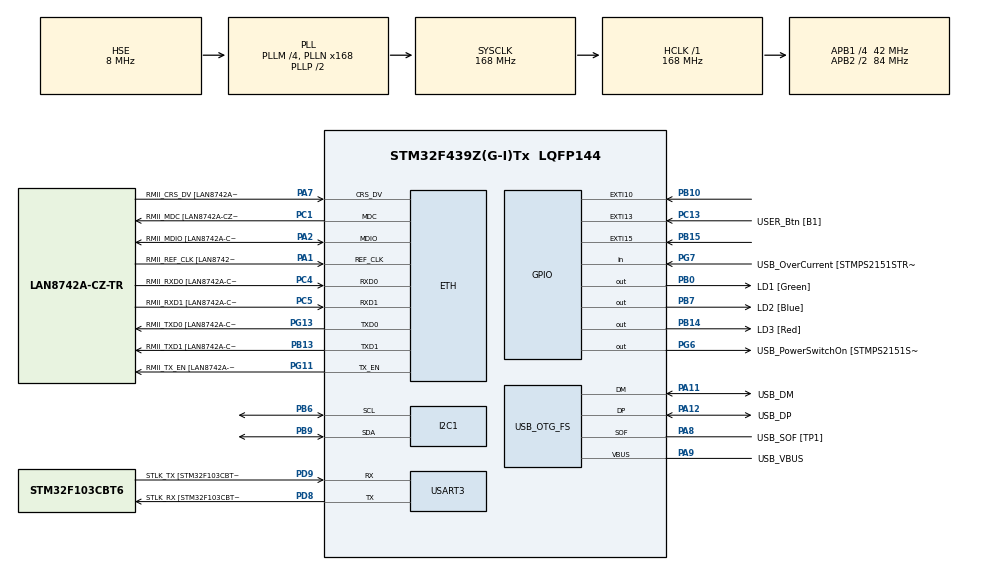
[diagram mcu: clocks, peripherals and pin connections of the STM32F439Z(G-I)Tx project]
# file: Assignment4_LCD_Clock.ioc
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ETH.MediaInterface=HAL_ETH_RMII_MODE
ETH.PHY_Name=LAN8742A_PHY_ADDRESS
ETH.PHY_Value=0
ETH.PhyAddress=0
Mcu.Family=STM32F4
Mcu.Name=STM32F439Z(G-I)Tx
Mcu.Package=LQFP144
NVIC.EXTI15_10_IRQn=true\:0\:0\:false\:false\:true\:true\:true\:true
NVIC.PriorityGroup=NVIC_PRIORITYGROUP_4
NVIC.TIM2_IRQn=true\:0\:0\:false\:false\:true\:true\:true\:true
PA1.GPIO_Label=RMII_REF_CLK [LAN8742A-CZ-TR_REFCLK0]
PA1.Mode=RMII
PA1.Signal=ETH_REF_CLK
PA10.GPIO_Label=USB_ID
PA10.Signal=USB_OTG_FS_ID
PA11.GPIO_Label=USB_DM
PA11.Mode=Device_Only
PA11.Signal=USB_OTG_FS_DM
PA12.GPIO_Label=USB_DP
PA12.Mode=Device_Only
PA12.Signal=USB_OTG_FS_DP
PA13.GPIO_Label=TMS
PA13.Mode=Serial_Wire
PA13.Signal=SYS_JTMS-SWDIO
PA14.GPIO_Label=TCK
PA14.Mode=Serial_Wire
PA14.Signal=SYS_JTCK-SWCLK
PA2.GPIO_Label=RMII_MDIO [LAN8742A-CZ-TR_MDIO]
PA2.Mode=RMII
PA2.Signal=ETH_MDIO
PA7.GPIO_Label=RMII_CRS_DV [LAN8742A-CZ-TR_CRS_DV]
PA7.Mode=RMII
PA7.Signal=ETH_CRS_DV
PA8.GPIO_Label=USB_SOF [TP1]
PA8.Mode=Activate_SOF_FS
PA8.Signal=USB_OTG_FS_SOF
PA9.GPIO_Label=USB_VBUS
PA9.Mode=Activate_VBUS
PA9.Signal=USB_OTG_FS_VBUS
PB0.GPIO_Label=LD1 [Green]
PB0.Signal=GPIO_Output
PB10.Signal=GPXTI10
PB13.GPIO_Label=RMII_TXD1 [LAN8742A-CZ-TR_TXD1]
PB13.Mode=RMII
PB13.Signal=ETH_TXD1
PB14.GPIO_Label=LD3 [Red]
PB14.Signal=GPIO_Output
PB15.Signal=GPXTI15
PB6.GPIO_Mode=GPIO_MODE_AF_OD
PB6.GPIO_Pu=GPIO_NOPULL
PB6.GPIO_Speed=GPIO_SPEED_FREQ_VERY_HIGH
PB6.Mode=I2C
PB6.Signal=I2C1_SCL
PB7.GPIO_Label=LD2 [Blue]
PB7.Signal=GPIO_Output
PB9.GPIO_Mode=GPIO_MODE_AF_OD
PB9.GPIO_Pu=GPIO_NOPULL
PB9.GPIO_Speed=GPIO_SPEED_FREQ_VERY_HIGH
PB9.Mode=I2C
PB9.Signal=I2C1_SDA
PC1.GPIO_Label=RMII_MDC [LAN8742A-CZ-TR_MDC]
PC1.Mode=RMII
PC1.Signal=ETH_MDC
PC13.GPIO_Label=USER_Btn [B1]
PC13.Signal=GPXTI13
PC14/OSC32_IN.Mode=LSE-External-Oscillator
PC14/OSC32_IN.Signal=RCC_OSC32_IN
PC15/OSC32_OUT.Mode=LSE-External-Oscillator
PC15/OSC32_OUT.Signal=RCC_OSC32_OUT
PC4.GPIO_Label=RMII_RXD0 [LAN8742A-CZ-TR_RXD0]
PC4.Mode=RMII
PC4.Signal=ETH_RXD0
PC5.GPIO_Label=RMII_RXD1 [LAN8742A-CZ-TR_RXD1]
PC5.Mode=RMII
PC5.Signal=ETH_RXD1
PD8.GPIO_Label=STLK_RX [STM32F103CBT6_PA3]
PD8.Mode=Asynchronous
PD8.Signal=USART3_TX
PD9.GPIO_Label=STLK_TX [STM32F103CBT6_PA2]
PD9.Mode=Asynchronous
PD9.Signal=USART3_RX
PG11.GPIO_Label=RMII_TX_EN [LAN8742A-CZ-TR_TXEN]
PG11.Mode=RMII
PG11.Signal=ETH_TX_EN
PG13.GPIO_Label=RMII_TXD0 [LAN8742A-CZ-TR_TXD0]
PG13.Mode=RMII
PG13.Signal=ETH_TXD0
PG6.GPIO_Label=USB_PowerSwitchOn [STMPS2151STR_EN]
PG6.Signal=GPIO_Output
PG7.GPIO_Label=USB_OverCurrent [STMPS2151STR_FAULT]
PG7.Signal=GPIO_Input
PH0/OSC_IN.GPIO_Label=MCO [STM32F103CBT6_PA8]
PH0/OSC_IN.Mode=HSE-External-Oscillator
PH0/OSC_IN.Signal=RCC_OSC_IN
PH1/OSC_OUT.Mode=HSE-External-Oscillator
PH1/OSC_OUT.Signal=RCC_OSC_OUT
ProjectManager.HeapSize=0x200
ProjectManager.StackSize=0x400
ProjectManager.TargetToolchain=STM32CubeIDE
RCC.48MHZClocksFreq_Value=48000000
RCC.AHBFreq_Value=168000000
RCC.APB1CLKDivider=RCC_HCLK_DIV4
RCC.APB1Freq_Value=42000000
RCC.APB1TimFreq_Value=84000000
RCC.APB2CLKDivider=RCC_HCLK_DIV2
RCC.APB2Freq_Value=84000000
RCC.APB2TimCLKDivider=2
RCC.APB2TimFreq_Value=168000000
RCC.CortexFreq_Value=168000000
RCC.HCLKFreq_Value=168000000
RCC.HSE_VALUE=8000000
RCC.HSI_VALUE=16000000
RCC.PLLM=4
RCC.PLLMUL=RCC_PLL_MUL9
RCC.PLLN=168
RCC.PLLQ=7
RCC.PRESCALERUSB=RCC_USBCLKSOURCE_PLL_DIV1_5
RCC.SYSCLKFreq_VALUE=168000000
RCC.SYSCLKSource=RCC_SYSCLKSOURCE_PLLCLK
RCC.SYSCLKSourceVirtual=RCC_SYSCLKSOURCE_PLLCLK
RCC.USBFreq_Value=48000000
RCC.VCOOutputFreq_Value=336000000
TIM2.Period=10000-1
TIM2.Prescaler=8400-1
USART3.VirtualMode=VM_ASYNC
USB_OTG_FS.VirtualMode=Device_Only
VP_TIM2_VS_ClockSourceINT.Mode=Internal
board=NUCLEO-F439ZI

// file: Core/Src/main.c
/* USER CODE BEGIN Header */
/**
  ******************************************************************************
  * @file           : main.c
  * @brief          : Main program body
  ******************************************************************************
  * @attention
  *
  * Copyright (c) 2025 STMicroelectronics.
  * All rights reserved.
  *
  * This software is licensed under terms that can be found in the LICENSE file
  * in the root directory of this software component.
  * If no LICENSE file comes with this software, it is provided AS-IS.
  *
  ******************************************************************************
  */
/* USER CODE END Header */
#include "main.h"
#include "string.h"

/* USER CODE BEGIN Includes */
#include "i2c-lcd.h"
/* USER CODE END Includes */

ETH_TxPacketConfig TxConfig;
ETH_DMADescTypeDef  DMARxDscrTab[ETH_RX_DESC_CNT]; /* Ethernet Rx DMA Descriptors */
ETH_DMADescTypeDef  DMATxDscrTab[ETH_TX_DESC_CNT]; /* Ethernet Tx DMA Descriptors */

ETH_HandleTypeDef heth;

I2C_HandleTypeDef hi2c1;

TIM_HandleTypeDef htim2;

UART_HandleTypeDef huart3;

PCD_HandleTypeDef hpcd_USB_OTG_FS;

/* USER CODE BEGIN PV */
int mode = 0; //0 - time_set mode; 1 - normal mode; 2 - alarm set mode
int cursor_loc = 0; //0 - set seconds; 1 - minutes; 2 - hrs
int tim_sec = 0;
int alarm_sec = 0;
int tim_min = 0;
int alarm_min = 0;
int tim_hrs = 0;
int alarm_hrs = 0;
int alarm_on_off = 0;
int debounce_time = 200;
int current_time = 0;
int previous_time = 0;
int alarm_detected = 0;
char time_array[9];
/* USER CODE END PV */

void SystemClock_Config(void);
static void MX_GPIO_Init(void);
static void MX_ETH_Init(void);
static void MX_USART3_UART_Init(void);
static void MX_USB_OTG_FS_PCD_Init(void);
static void MX_I2C1_Init(void);
static void MX_TIM2_Init(void);

/* USER CODE BEGIN 0 */

void display_clock(void){

	//a function to indicate that time==alarm time when alarm_on_off == 1

	if (mode!=2){
	lcd_put_cur(0, 0);
	sprintf(time_array, "%02d:%02d:%02d" , tim_hrs , tim_min, tim_sec);
	lcd_send_string(time_array);
	}
	if (mode==0){
		lcd_put_cur(1, 0);
		lcd_send_string("SET TIME  ");
	}
	if (mode==1 && alarm_detected==0){
		lcd_put_cur(1, 0);
		lcd_send_string("CLOCK    ");
		HAL_GPIO_WritePin(GPIOB, LD1_Pin, 0);
		HAL_GPIO_WritePin(GPIOB, LD2_Pin, 0);
		HAL_GPIO_WritePin(GPIOB, LD3_Pin, 0);
	}
	if (mode==2){
		lcd_put_cur(0, 0);
		sprintf(time_array, "%02d:%02d:%02d" , alarm_hrs , alarm_min, alarm_sec);
		lcd_send_string(time_array);
		lcd_put_cur(1, 0);
		lcd_send_string("SET ALARM");

	}
	if (alarm_on_off){
		lcd_put_cur(1, 13);
		lcd_send_string("ON ");
	}
	if (!alarm_on_off){
		lcd_put_cur(1, 13);
		lcd_send_string("OFF");
	}
	if (alarm_detected>0){
		lcd_put_cur(1, 0);
		lcd_send_string("ALARM!     ");
	}

}

/* USER CODE END 0 */

int main(void)
{

  /* MCU Configuration--------------------------------------------------------*/

  /* Reset of all peripherals, Initializes the Flash interface and the Systick. */
  HAL_Init();

  /* Configure the system clock */
  SystemClock_Config();

  /* Initialize all configured peripherals */
  MX_GPIO_Init();
  MX_ETH_Init();
  MX_USART3_UART_Init();
  MX_USB_OTG_FS_PCD_Init();
  MX_I2C1_Init();
  MX_TIM2_Init();
  /* USER CODE BEGIN 2 */
  HAL_TIM_Base_Start_IT(&htim2);
  lcd_init();
  lcd_clear();
  //lcd_send_string("HELLO");
  /* USER CODE END 2 */

  /* Infinite loop */
  while (1)
  {
	  display_clock();
  }
}

void SystemClock_Config(void)
{
  RCC_OscInitTypeDef RCC_OscInitStruct = {0};
  RCC_ClkInitTypeDef RCC_ClkInitStruct = {0};

  /** Configure the main internal regulator output voltage
  */
  __HAL_RCC_PWR_CLK_ENABLE();
  __HAL_PWR_VOLTAGESCALING_CONFIG(PWR_REGULATOR_VOLTAGE_SCALE1);

  /** Initializes the RCC Oscillators according to the specified parameters
  * in the RCC_OscInitTypeDef structure.
  */
  RCC_OscInitStruct.OscillatorType = RCC_OSCILLATORTYPE_HSE;
  RCC_OscInitStruct.HSEState = RCC_HSE_ON;
  RCC_OscInitStruct.PLL.PLLState = RCC_PLL_ON;
  RCC_OscInitStruct.PLL.PLLSource = RCC_PLLSOURCE_HSE;
  RCC_OscInitStruct.PLL.PLLM = 4;
  RCC_OscInitStruct.PLL.PLLN = 168;
  RCC_OscInitStruct.PLL.PLLP = RCC_PLLP_DIV2;
  RCC_OscInitStruct.PLL.PLLQ = 7;
  if (HAL_RCC_OscConfig(&RCC_OscInitStruct) != HAL_OK)
  {
    Error_Handler();
  }

  /** Initializes the CPU, AHB and APB buses clocks
  */
  RCC_ClkInitStruct.ClockType = RCC_CLOCKTYPE_HCLK|RCC_CLOCKTYPE_SYSCLK
                              |RCC_CLOCKTYPE_PCLK1|RCC_CLOCKTYPE_PCLK2;
  RCC_ClkInitStruct.SYSCLKSource = RCC_SYSCLKSOURCE_PLLCLK;
  RCC_ClkInitStruct.AHBCLKDivider = RCC_SYSCLK_DIV1;
  RCC_ClkInitStruct.APB1CLKDivider = RCC_HCLK_DIV4;
  RCC_ClkInitStruct.APB2CLKDivider = RCC_HCLK_DIV2;

  if (HAL_RCC_ClockConfig(&RCC_ClkInitStruct, FLASH_LATENCY_5) != HAL_OK)
  {
    Error_Handler();
  }
}

static void MX_ETH_Init(void)
{

   static uint8_t MACAddr[6];

  heth.Instance = ETH;
  MACAddr[0] = 0x00;
  MACAddr[1] = 0x80;
  MACAddr[2] = 0xE1;
  MACAddr[3] = 0x00;
  MACAddr[4] = 0x00;
  MACAddr[5] = 0x00;
  heth.Init.MACAddr = &MACAddr[0];
  heth.Init.MediaInterface = HAL_ETH_RMII_MODE;
  heth.Init.TxDesc = DMATxDscrTab;
  heth.Init.RxDesc = DMARxDscrTab;
  heth.Init.RxBuffLen = 1524;

  if (HAL_ETH_Init(&heth) != HAL_OK)
  {
    Error_Handler();
  }

  memset(&TxConfig, 0 , sizeof(ETH_TxPacketConfig));
  TxConfig.Attributes = ETH_TX_PACKETS_FEATURES_CSUM | ETH_TX_PACKETS_FEATURES_CRCPAD;
  TxConfig.ChecksumCtrl = ETH_CHECKSUM_IPHDR_PAYLOAD_INSERT_PHDR_CALC;
  TxConfig.CRCPadCtrl = ETH_CRC_PAD_INSERT;

}

static void MX_I2C1_Init(void)
{

  hi2c1.Instance = I2C1;
  hi2c1.Init.ClockSpeed = 100000;
  hi2c1.Init.DutyCycle = I2C_DUTYCYCLE_2;
  hi2c1.Init.OwnAddress1 = 0;
  hi2c1.Init.AddressingMode = I2C_ADDRESSINGMODE_7BIT;
  hi2c1.Init.DualAddressMode = I2C_DUALADDRESS_DISABLE;
  hi2c1.Init.OwnAddress2 = 0;
  hi2c1.Init.GeneralCallMode = I2C_GENERALCALL_DISABLE;
  hi2c1.Init.NoStretchMode = I2C_NOSTRETCH_DISABLE;
  if (HAL_I2C_Init(&hi2c1) != HAL_OK)
  {
    Error_Handler();
  }

  /** Configure Analogue filter
  */
  if (HAL_I2CEx_ConfigAnalogFilter(&hi2c1, I2C_ANALOGFILTER_ENABLE) != HAL_OK)
  {
    Error_Handler();
  }

  /** Configure Digital filter
  */
  if (HAL_I2CEx_ConfigDigitalFilter(&hi2c1, 0) != HAL_OK)
  {
    Error_Handler();
  }

}

static void MX_TIM2_Init(void)
{

  TIM_ClockConfigTypeDef sClockSourceConfig = {0};
  TIM_MasterConfigTypeDef sMasterConfig = {0};

  htim2.Instance = TIM2;
  htim2.Init.Prescaler = 8400-1;
  htim2.Init.CounterMode = TIM_COUNTERMODE_UP;
  htim2.Init.Period = 10000-1;
  htim2.Init.ClockDivision = TIM_CLOCKDIVISION_DIV1;
  htim2.Init.AutoReloadPreload = TIM_AUTORELOAD_PRELOAD_DISABLE;
  if (HAL_TIM_Base_Init(&htim2) != HAL_OK)
  {
    Error_Handler();
  }
  sClockSourceConfig.ClockSource = TIM_CLOCKSOURCE_INTERNAL;
  if (HAL_TIM_ConfigClockSource(&htim2, &sClockSourceConfig) != HAL_OK)
  {
    Error_Handler();
  }
  sMasterConfig.MasterOutputTrigger = TIM_TRGO_RESET;
  sMasterConfig.MasterSlaveMode = TIM_MASTERSLAVEMODE_DISABLE;
  if (HAL_TIMEx_MasterConfigSynchronization(&htim2, &sMasterConfig) != HAL_OK)
  {
    Error_Handler();
  }

}

static void MX_USART3_UART_Init(void)
{

  huart3.Instance = USART3;
  huart3.Init.BaudRate = 115200;
  huart3.Init.WordLength = UART_WORDLENGTH_8B;
  huart3.Init.StopBits = UART_STOPBITS_1;
  huart3.Init.Parity = UART_PARITY_NONE;
  huart3.Init.Mode = UART_MODE_TX_RX;
  huart3.Init.HwFlowCtl = UART_HWCONTROL_NONE;
  huart3.Init.OverSampling = UART_OVERSAMPLING_16;
  if (HAL_UART_Init(&huart3) != HAL_OK)
  {
    Error_Handler();
  }

}

static void MX_USB_OTG_FS_PCD_Init(void)
{

  hpcd_USB_OTG_FS.Instance = USB_OTG_FS;
  hpcd_USB_OTG_FS.Init.dev_endpoints = 4;
  hpcd_USB_OTG_FS.Init.speed = PCD_SPEED_FULL;
  hpcd_USB_OTG_FS.Init.dma_enable = DISABLE;
  hpcd_USB_OTG_FS.Init.phy_itface = PCD_PHY_EMBEDDED;
  hpcd_USB_OTG_FS.Init.Sof_enable = ENABLE;
  hpcd_USB_OTG_FS.Init.low_power_enable = DISABLE;
  hpcd_USB_OTG_FS.Init.lpm_enable = DISABLE;
  hpcd_USB_OTG_FS.Init.vbus_sensing_enable = ENABLE;
  hpcd_USB_OTG_FS.Init.use_dedicated_ep1 = DISABLE;
  if (HAL_PCD_Init(&hpcd_USB_OTG_FS) != HAL_OK)
  {
    Error_Handler();
  }

}

static void MX_GPIO_Init(void)
{
  GPIO_InitTypeDef GPIO_InitStruct = {0};

  /* GPIO Ports Clock Enable */
  __HAL_RCC_GPIOC_CLK_ENABLE();
  __HAL_RCC_GPIOH_CLK_ENABLE();
  __HAL_RCC_GPIOA_CLK_ENABLE();
  __HAL_RCC_GPIOB_CLK_ENABLE();
  __HAL_RCC_GPIOD_CLK_ENABLE();
  __HAL_RCC_GPIOG_CLK_ENABLE();

  /*Configure GPIO pin Output Level */
  HAL_GPIO_WritePin(GPIOB, LD1_Pin|LD3_Pin|LD2_Pin, GPIO_PIN_RESET);

  /*Configure GPIO pin Output Level */
  HAL_GPIO_WritePin(USB_PowerSwitchOn_GPIO_Port, USB_PowerSwitchOn_Pin, GPIO_PIN_RESET);

  /*Configure GPIO pin : USER_Btn_Pin */
  GPIO_InitStruct.Pin = USER_Btn_Pin;
  GPIO_InitStruct.Mode = GPIO_MODE_IT_RISING;
  GPIO_InitStruct.Pull = GPIO_NOPULL;
  HAL_GPIO_Init(USER_Btn_GPIO_Port, &GPIO_InitStruct);

  /*Configure GPIO pins : LD1_Pin LD3_Pin LD2_Pin */
  GPIO_InitStruct.Pin = LD1_Pin|LD3_Pin|LD2_Pin;
  GPIO_InitStruct.Mode = GPIO_MODE_OUTPUT_PP;
  GPIO_InitStruct.Pull = GPIO_NOPULL;
  GPIO_InitStruct.Speed = GPIO_SPEED_FREQ_LOW;
  HAL_GPIO_Init(GPIOB, &GPIO_InitStruct);

  /*Configure GPIO pins : PB10 PB15 */
  GPIO_InitStruct.Pin = GPIO_PIN_10|GPIO_PIN_15;
  GPIO_InitStruct.Mode = GPIO_MODE_IT_RISING;
  GPIO_InitStruct.Pull = GPIO_NOPULL;
  HAL_GPIO_Init(GPIOB, &GPIO_InitStruct);

  /*Configure GPIO pin : USB_PowerSwitchOn_Pin */
  GPIO_InitStruct.Pin = USB_PowerSwitchOn_Pin;
  GPIO_InitStruct.Mode = GPIO_MODE_OUTPUT_PP;
  GPIO_InitStruct.Pull = GPIO_NOPULL;
  GPIO_InitStruct.Speed = GPIO_SPEED_FREQ_LOW;
  HAL_GPIO_Init(USB_PowerSwitchOn_GPIO_Port, &GPIO_InitStruct);

  /*Configure GPIO pin : USB_OverCurrent_Pin */
  GPIO_InitStruct.Pin = USB_OverCurrent_Pin;
  GPIO_InitStruct.Mode = GPIO_MODE_INPUT;
  GPIO_InitStruct.Pull = GPIO_NOPULL;
  HAL_GPIO_Init(USB_OverCurrent_GPIO_Port, &GPIO_InitStruct);

  /* EXTI interrupt init*/
  HAL_NVIC_SetPriority(EXTI15_10_IRQn, 0, 0);
  HAL_NVIC_EnableIRQ(EXTI15_10_IRQn);

}

/* USER CODE BEGIN 4 */
void HAL_TIM_PeriodElapsedCallback(TIM_HandleTypeDef *htim)
{
  /* Prevent unused argument(s) compilation warning */
  UNUSED(htim);

  /* NOTE : This function should not be modified, when the callback is needed,
            the HAL_TIM_PeriodElapsedCallback could be implemented in the user file
   */
  if(alarm_on_off){
	 if( (tim_sec == alarm_sec && tim_min == alarm_min && tim_hrs == alarm_hrs) | (alarm_detected>0)){
		  alarm_detected = (alarm_detected +1)%30;
			HAL_GPIO_TogglePin(GPIOB, LD1_Pin);
			HAL_GPIO_TogglePin(GPIOB, LD2_Pin);
			HAL_GPIO_TogglePin(GPIOB, LD3_Pin);

	  }
  }

  if (htim->Instance==TIM2){
	  if(1){
		  tim_sec++;
		  if(tim_sec == 60){
			  tim_min++;
			  tim_sec = 0;
		  }
		  if(tim_min == 60){
			  tim_hrs = (tim_hrs + 1)%24;
			  tim_min = 0;
		  }
	  }

   }

}

//PIN15 for set button (cycle between setting cursor location to seconds, minutes, hrs
//						and alarm ON or OFF)
//PIN10 for increment button

void HAL_GPIO_EXTI_Callback(uint16_t GPIO_Pin)
{
 /* Prevent unused argument(s) compilation warning */
 UNUSED(GPIO_Pin);
 /* NOTE: This function Should not be modified, when the callback is needed,
          the HAL_GPIO_EXTI_Callback could be implemented in the user file
  */
 current_time = HAL_GetTick();

 if(alarm_detected > 0){
	 if(((GPIO_Pin == GPIO_PIN_13) |  (GPIO_Pin == GPIO_PIN_15) | (GPIO_Pin == GPIO_PIN_10)) && (current_time - previous_time > debounce_time) )
	 alarm_detected = 0;
	 previous_time = current_time;
 }

 if(GPIO_Pin == GPIO_PIN_13 && current_time - previous_time > debounce_time){

	 mode = (mode + 1)%3;
	 cursor_loc = 0;
	 previous_time = current_time;
 }

 if(GPIO_Pin == GPIO_PIN_15 && mode!=1 && current_time - previous_time > debounce_time){
	 if(mode == 0){
		 cursor_loc = (cursor_loc+1)%3;
	 }
	 if(mode == 2){
		 cursor_loc = (cursor_loc+1)%4;
	 }
	 previous_time = current_time;
 }

 if(GPIO_Pin == GPIO_PIN_10 && mode!=1 && current_time - previous_time > debounce_time){
	 if(mode == 0){
		 if(cursor_loc == 0){
			 tim_sec = 0;
		 }
		 if(cursor_loc == 1){
			 tim_min = (tim_min+1)%60;
		 }
		 if(cursor_loc == 2){
			 tim_hrs = (tim_hrs+1)%24;
		 }
	 }
	 if(mode == 2){
		 if(cursor_loc == 0){
					 alarm_sec = (alarm_sec+1)%60;
				 }
		 if(cursor_loc == 1){
			 alarm_min = (alarm_min+1)%60;
		 }
		 if(cursor_loc == 2){
			 alarm_hrs = (alarm_hrs+1)%24;
		 }
		 if(cursor_loc == 3){
			 alarm_on_off = !alarm_on_off;
		 }
	 }
	 previous_time = current_time;
 }

}
/* USER CODE END 4 */

void Error_Handler(void)
{
  __disable_irq();
  while (1)
  {
  }
}
